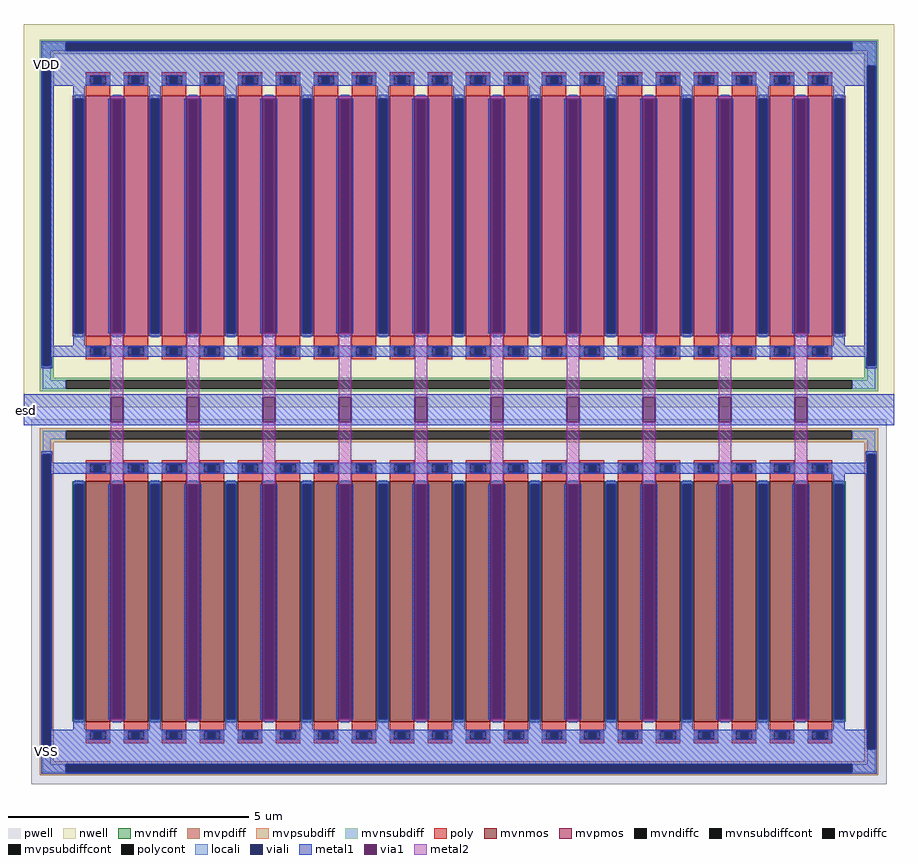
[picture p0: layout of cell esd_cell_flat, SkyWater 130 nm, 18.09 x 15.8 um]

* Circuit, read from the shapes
.subckt esd_cell_flat esd VDD VSS
XM1 esd VSS VSS VSS sky130_fd_pr__nfet_g5v0d10v5 w=5 l=0.5 m=20
XM2 esd VDD VDD VDD sky130_fd_pr__pfet_g5v0d10v5 w=5 l=0.5 m=20
.ends

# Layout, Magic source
magic
tech sky130A
<< nwell >>
rect -32 751 1777 1548
<< pwell >>
rect -17 -32 1762 726
<< mvnmos >>
rect 97 97 147 597
rect 176 97 226 597
rect 255 97 305 597
rect 334 97 384 597
rect 413 97 463 597
rect 492 97 542 597
rect 571 97 621 597
rect 650 97 700 597
rect 729 97 779 597
rect 808 97 858 597
rect 887 97 937 597
rect 966 97 1016 597
rect 1045 97 1095 597
rect 1124 97 1174 597
rect 1203 97 1253 597
rect 1282 97 1332 597
rect 1361 97 1411 597
rect 1440 97 1490 597
rect 1519 97 1569 597
rect 1598 97 1648 597
<< mvpmos >>
rect 97 899 147 1399
rect 176 899 226 1399
rect 255 899 305 1399
rect 334 899 384 1399
rect 413 899 463 1399
rect 492 899 542 1399
rect 571 899 621 1399
rect 650 899 700 1399
rect 729 899 779 1399
rect 808 899 858 1399
rect 887 899 937 1399
rect 966 899 1016 1399
rect 1045 899 1095 1399
rect 1124 899 1174 1399
rect 1203 899 1253 1399
rect 1282 899 1332 1399
rect 1361 899 1411 1399
rect 1440 899 1490 1399
rect 1519 899 1569 1399
rect 1598 899 1648 1399
<< mvndiff >>
rect 68 591 97 597
rect 68 103 74 591
rect 91 103 97 591
rect 68 97 97 103
rect 147 591 176 597
rect 147 103 153 591
rect 170 103 176 591
rect 147 97 176 103
rect 226 591 255 597
rect 226 103 232 591
rect 249 103 255 591
rect 226 97 255 103
rect 305 591 334 597
rect 305 103 311 591
rect 328 103 334 591
rect 305 97 334 103
rect 384 591 413 597
rect 384 103 390 591
rect 407 103 413 591
rect 384 97 413 103
rect 463 591 492 597
rect 463 103 469 591
rect 486 103 492 591
rect 463 97 492 103
rect 542 591 571 597
rect 542 103 548 591
rect 565 103 571 591
rect 542 97 571 103
rect 621 591 650 597
rect 621 103 627 591
rect 644 103 650 591
rect 621 97 650 103
rect 700 591 729 597
rect 700 103 706 591
rect 723 103 729 591
rect 700 97 729 103
rect 779 591 808 597
rect 779 103 785 591
rect 802 103 808 591
rect 779 97 808 103
rect 858 591 887 597
rect 858 103 864 591
rect 881 103 887 591
rect 858 97 887 103
rect 937 591 966 597
rect 937 103 943 591
rect 960 103 966 591
rect 937 97 966 103
rect 1016 591 1045 597
rect 1016 103 1022 591
rect 1039 103 1045 591
rect 1016 97 1045 103
rect 1095 591 1124 597
rect 1095 103 1101 591
rect 1118 103 1124 591
rect 1095 97 1124 103
rect 1174 591 1203 597
rect 1174 103 1180 591
rect 1197 103 1203 591
rect 1174 97 1203 103
rect 1253 591 1282 597
rect 1253 103 1259 591
rect 1276 103 1282 591
rect 1253 97 1282 103
rect 1332 591 1361 597
rect 1332 103 1338 591
rect 1355 103 1361 591
rect 1332 97 1361 103
rect 1411 591 1440 597
rect 1411 103 1417 591
rect 1434 103 1440 591
rect 1411 97 1440 103
rect 1490 591 1519 597
rect 1490 103 1496 591
rect 1513 103 1519 591
rect 1490 97 1519 103
rect 1569 591 1598 597
rect 1569 103 1575 591
rect 1592 103 1598 591
rect 1569 97 1598 103
rect 1648 591 1677 597
rect 1648 103 1654 591
rect 1671 103 1677 591
rect 1648 97 1677 103
<< mvpdiff >>
rect 68 1393 97 1399
rect 68 905 74 1393
rect 91 905 97 1393
rect 68 899 97 905
rect 147 1393 176 1399
rect 147 905 153 1393
rect 170 905 176 1393
rect 147 899 176 905
rect 226 1393 255 1399
rect 226 905 232 1393
rect 249 905 255 1393
rect 226 899 255 905
rect 305 1393 334 1399
rect 305 905 311 1393
rect 328 905 334 1393
rect 305 899 334 905
rect 384 1393 413 1399
rect 384 905 390 1393
rect 407 905 413 1393
rect 384 899 413 905
rect 463 1393 492 1399
rect 463 905 469 1393
rect 486 905 492 1393
rect 463 899 492 905
rect 542 1393 571 1399
rect 542 905 548 1393
rect 565 905 571 1393
rect 542 899 571 905
rect 621 1393 650 1399
rect 621 905 627 1393
rect 644 905 650 1393
rect 621 899 650 905
rect 700 1393 729 1399
rect 700 905 706 1393
rect 723 905 729 1393
rect 700 899 729 905
rect 779 1393 808 1399
rect 779 905 785 1393
rect 802 905 808 1393
rect 779 899 808 905
rect 858 1393 887 1399
rect 858 905 864 1393
rect 881 905 887 1393
rect 858 899 887 905
rect 937 1393 966 1399
rect 937 905 943 1393
rect 960 905 966 1393
rect 937 899 966 905
rect 1016 1393 1045 1399
rect 1016 905 1022 1393
rect 1039 905 1045 1393
rect 1016 899 1045 905
rect 1095 1393 1124 1399
rect 1095 905 1101 1393
rect 1118 905 1124 1393
rect 1095 899 1124 905
rect 1174 1393 1203 1399
rect 1174 905 1180 1393
rect 1197 905 1203 1393
rect 1174 899 1203 905
rect 1253 1393 1282 1399
rect 1253 905 1259 1393
rect 1276 905 1282 1393
rect 1253 899 1282 905
rect 1332 1393 1361 1399
rect 1332 905 1338 1393
rect 1355 905 1361 1393
rect 1332 899 1361 905
rect 1411 1393 1440 1399
rect 1411 905 1417 1393
rect 1434 905 1440 1393
rect 1411 899 1440 905
rect 1490 1393 1519 1399
rect 1490 905 1496 1393
rect 1513 905 1519 1393
rect 1490 899 1519 905
rect 1569 1393 1598 1399
rect 1569 905 1575 1393
rect 1592 905 1598 1393
rect 1569 899 1598 905
rect 1648 1393 1677 1399
rect 1648 905 1654 1393
rect 1671 905 1677 1393
rect 1648 899 1677 905
<< mvndiffc >>
rect 74 103 91 591
rect 153 103 170 591
rect 232 103 249 591
rect 311 103 328 591
rect 390 103 407 591
rect 469 103 486 591
rect 548 103 565 591
rect 627 103 644 591
rect 706 103 723 591
rect 785 103 802 591
rect 864 103 881 591
rect 943 103 960 591
rect 1022 103 1039 591
rect 1101 103 1118 591
rect 1180 103 1197 591
rect 1259 103 1276 591
rect 1338 103 1355 591
rect 1417 103 1434 591
rect 1496 103 1513 591
rect 1575 103 1592 591
rect 1654 103 1671 591
<< mvpdiffc >>
rect 74 905 91 1393
rect 153 905 170 1393
rect 232 905 249 1393
rect 311 905 328 1393
rect 390 905 407 1393
rect 469 905 486 1393
rect 548 905 565 1393
rect 627 905 644 1393
rect 706 905 723 1393
rect 785 905 802 1393
rect 864 905 881 1393
rect 943 905 960 1393
rect 1022 905 1039 1393
rect 1101 905 1118 1393
rect 1180 905 1197 1393
rect 1259 905 1276 1393
rect 1338 905 1355 1393
rect 1417 905 1434 1393
rect 1496 905 1513 1393
rect 1575 905 1592 1393
rect 1654 905 1671 1393
<< mvpsubdiff >>
rect 1 702 1744 708
rect 1 685 55 702
rect 1690 685 1744 702
rect 1 679 1744 685
rect 1 654 30 679
rect 1 40 7 654
rect 24 40 30 654
rect 1715 654 1744 679
rect 1 15 30 40
rect 1715 40 1721 654
rect 1738 40 1744 654
rect 1715 15 1744 40
rect 1 9 1744 15
rect 1 -8 55 9
rect 1690 -8 1744 9
rect 1 -14 1744 -8
<< mvnsubdiff >>
rect 1 1509 1744 1515
rect 1 1492 55 1509
rect 1690 1492 1744 1509
rect 1 1486 1744 1492
rect 1 1461 30 1486
rect 1 838 7 1461
rect 24 838 30 1461
rect 1715 1461 1744 1486
rect 1 813 30 838
rect 1715 838 1721 1461
rect 1738 838 1744 1461
rect 1715 813 1744 838
rect 1 807 1744 813
rect 1 790 55 807
rect 1690 790 1744 807
rect 1 784 1744 790
<< mvpsubdiffcont >>
rect 55 685 1690 702
rect 7 40 24 654
rect 1721 40 1738 654
rect 55 -8 1690 9
<< mvnsubdiffcont >>
rect 55 1492 1690 1509
rect 7 838 24 1461
rect 1721 838 1738 1461
rect 55 790 1690 807
<< poly >>
rect 97 1440 147 1448
rect 97 1423 105 1440
rect 139 1423 147 1440
rect 97 1399 147 1423
rect 176 1440 226 1448
rect 176 1423 184 1440
rect 218 1423 226 1440
rect 176 1399 226 1423
rect 255 1440 305 1448
rect 255 1423 263 1440
rect 297 1423 305 1440
rect 255 1399 305 1423
rect 334 1440 384 1448
rect 334 1423 342 1440
rect 376 1423 384 1440
rect 334 1399 384 1423
rect 413 1440 463 1448
rect 413 1423 421 1440
rect 455 1423 463 1440
rect 413 1399 463 1423
rect 492 1440 542 1448
rect 492 1423 500 1440
rect 534 1423 542 1440
rect 492 1399 542 1423
rect 571 1440 621 1448
rect 571 1423 579 1440
rect 613 1423 621 1440
rect 571 1399 621 1423
rect 650 1440 700 1448
rect 650 1423 658 1440
rect 692 1423 700 1440
rect 650 1399 700 1423
rect 729 1440 779 1448
rect 729 1423 737 1440
rect 771 1423 779 1440
rect 729 1399 779 1423
rect 808 1440 858 1448
rect 808 1423 816 1440
rect 850 1423 858 1440
rect 808 1399 858 1423
rect 887 1440 937 1448
rect 887 1423 895 1440
rect 929 1423 937 1440
rect 887 1399 937 1423
rect 966 1440 1016 1448
rect 966 1423 974 1440
rect 1008 1423 1016 1440
rect 966 1399 1016 1423
rect 1045 1440 1095 1448
rect 1045 1423 1053 1440
rect 1087 1423 1095 1440
rect 1045 1399 1095 1423
rect 1124 1440 1174 1448
rect 1124 1423 1132 1440
rect 1166 1423 1174 1440
rect 1124 1399 1174 1423
rect 1203 1440 1253 1448
rect 1203 1423 1211 1440
rect 1245 1423 1253 1440
rect 1203 1399 1253 1423
rect 1282 1440 1332 1448
rect 1282 1423 1290 1440
rect 1324 1423 1332 1440
rect 1282 1399 1332 1423
rect 1361 1440 1411 1448
rect 1361 1423 1369 1440
rect 1403 1423 1411 1440
rect 1361 1399 1411 1423
rect 1440 1440 1490 1448
rect 1440 1423 1448 1440
rect 1482 1423 1490 1440
rect 1440 1399 1490 1423
rect 1519 1440 1569 1448
rect 1519 1423 1527 1440
rect 1561 1423 1569 1440
rect 1519 1399 1569 1423
rect 1598 1440 1648 1448
rect 1598 1423 1606 1440
rect 1640 1423 1648 1440
rect 1598 1399 1648 1423
rect 97 876 147 899
rect 97 859 105 876
rect 139 859 147 876
rect 97 851 147 859
rect 176 876 226 899
rect 176 859 184 876
rect 218 859 226 876
rect 176 851 226 859
rect 255 876 305 899
rect 255 859 263 876
rect 297 859 305 876
rect 255 851 305 859
rect 334 876 384 899
rect 334 859 342 876
rect 376 859 384 876
rect 334 851 384 859
rect 413 876 463 899
rect 413 859 421 876
rect 455 859 463 876
rect 413 851 463 859
rect 492 876 542 899
rect 492 859 500 876
rect 534 859 542 876
rect 492 851 542 859
rect 571 876 621 899
rect 571 859 579 876
rect 613 859 621 876
rect 571 851 621 859
rect 650 876 700 899
rect 650 859 658 876
rect 692 859 700 876
rect 650 851 700 859
rect 729 876 779 899
rect 729 859 737 876
rect 771 859 779 876
rect 729 851 779 859
rect 808 876 858 899
rect 808 859 816 876
rect 850 859 858 876
rect 808 851 858 859
rect 887 876 937 899
rect 887 859 895 876
rect 929 859 937 876
rect 887 851 937 859
rect 966 876 1016 899
rect 966 859 974 876
rect 1008 859 1016 876
rect 966 851 1016 859
rect 1045 876 1095 899
rect 1045 859 1053 876
rect 1087 859 1095 876
rect 1045 851 1095 859
rect 1124 876 1174 899
rect 1124 859 1132 876
rect 1166 859 1174 876
rect 1124 851 1174 859
rect 1203 876 1253 899
rect 1203 859 1211 876
rect 1245 859 1253 876
rect 1203 851 1253 859
rect 1282 876 1332 899
rect 1282 859 1290 876
rect 1324 859 1332 876
rect 1282 851 1332 859
rect 1361 876 1411 899
rect 1361 859 1369 876
rect 1403 859 1411 876
rect 1361 851 1411 859
rect 1440 876 1490 899
rect 1440 859 1448 876
rect 1482 859 1490 876
rect 1440 851 1490 859
rect 1519 876 1569 899
rect 1519 859 1527 876
rect 1561 859 1569 876
rect 1519 851 1569 859
rect 1598 876 1648 899
rect 1598 859 1606 876
rect 1640 859 1648 876
rect 1598 851 1648 859
rect 97 633 147 641
rect 97 616 105 633
rect 139 616 147 633
rect 97 597 147 616
rect 176 633 226 641
rect 176 616 184 633
rect 218 616 226 633
rect 176 597 226 616
rect 255 633 305 641
rect 255 616 263 633
rect 297 616 305 633
rect 255 597 305 616
rect 334 633 384 641
rect 334 616 342 633
rect 376 616 384 633
rect 334 597 384 616
rect 413 633 463 641
rect 413 616 421 633
rect 455 616 463 633
rect 413 597 463 616
rect 492 633 542 641
rect 492 616 500 633
rect 534 616 542 633
rect 492 597 542 616
rect 571 633 621 641
rect 571 616 579 633
rect 613 616 621 633
rect 571 597 621 616
rect 650 633 700 641
rect 650 616 658 633
rect 692 616 700 633
rect 650 597 700 616
rect 729 633 779 641
rect 729 616 737 633
rect 771 616 779 633
rect 729 597 779 616
rect 808 633 858 641
rect 808 616 816 633
rect 850 616 858 633
rect 808 597 858 616
rect 887 633 937 641
rect 887 616 895 633
rect 929 616 937 633
rect 887 597 937 616
rect 966 633 1016 641
rect 966 616 974 633
rect 1008 616 1016 633
rect 966 597 1016 616
rect 1045 633 1095 641
rect 1045 616 1053 633
rect 1087 616 1095 633
rect 1045 597 1095 616
rect 1124 633 1174 641
rect 1124 616 1132 633
rect 1166 616 1174 633
rect 1124 597 1174 616
rect 1203 633 1253 641
rect 1203 616 1211 633
rect 1245 616 1253 633
rect 1203 597 1253 616
rect 1282 633 1332 641
rect 1282 616 1290 633
rect 1324 616 1332 633
rect 1282 597 1332 616
rect 1361 633 1411 641
rect 1361 616 1369 633
rect 1403 616 1411 633
rect 1361 597 1411 616
rect 1440 633 1490 641
rect 1440 616 1448 633
rect 1482 616 1490 633
rect 1440 597 1490 616
rect 1519 633 1569 641
rect 1519 616 1527 633
rect 1561 616 1569 633
rect 1519 597 1569 616
rect 1598 633 1648 641
rect 1598 616 1606 633
rect 1640 616 1648 633
rect 1598 597 1648 616
rect 97 78 147 97
rect 97 61 105 78
rect 139 61 147 78
rect 97 53 147 61
rect 176 78 226 97
rect 176 61 184 78
rect 218 61 226 78
rect 176 53 226 61
rect 255 78 305 97
rect 255 61 263 78
rect 297 61 305 78
rect 255 53 305 61
rect 334 78 384 97
rect 334 61 342 78
rect 376 61 384 78
rect 334 53 384 61
rect 413 78 463 97
rect 413 61 421 78
rect 455 61 463 78
rect 413 53 463 61
rect 492 78 542 97
rect 492 61 500 78
rect 534 61 542 78
rect 492 53 542 61
rect 571 78 621 97
rect 571 61 579 78
rect 613 61 621 78
rect 571 53 621 61
rect 650 78 700 97
rect 650 61 658 78
rect 692 61 700 78
rect 650 53 700 61
rect 729 78 779 97
rect 729 61 737 78
rect 771 61 779 78
rect 729 53 779 61
rect 808 78 858 97
rect 808 61 816 78
rect 850 61 858 78
rect 808 53 858 61
rect 887 78 937 97
rect 887 61 895 78
rect 929 61 937 78
rect 887 53 937 61
rect 966 78 1016 97
rect 966 61 974 78
rect 1008 61 1016 78
rect 966 53 1016 61
rect 1045 78 1095 97
rect 1045 61 1053 78
rect 1087 61 1095 78
rect 1045 53 1095 61
rect 1124 78 1174 97
rect 1124 61 1132 78
rect 1166 61 1174 78
rect 1124 53 1174 61
rect 1203 78 1253 97
rect 1203 61 1211 78
rect 1245 61 1253 78
rect 1203 53 1253 61
rect 1282 78 1332 97
rect 1282 61 1290 78
rect 1324 61 1332 78
rect 1282 53 1332 61
rect 1361 78 1411 97
rect 1361 61 1369 78
rect 1403 61 1411 78
rect 1361 53 1411 61
rect 1440 78 1490 97
rect 1440 61 1448 78
rect 1482 61 1490 78
rect 1440 53 1490 61
rect 1519 78 1569 97
rect 1519 61 1527 78
rect 1561 61 1569 78
rect 1519 53 1569 61
rect 1598 78 1648 97
rect 1598 61 1606 78
rect 1640 61 1648 78
rect 1598 53 1648 61
<< polycont >>
rect 105 1423 139 1440
rect 184 1423 218 1440
rect 263 1423 297 1440
rect 342 1423 376 1440
rect 421 1423 455 1440
rect 500 1423 534 1440
rect 579 1423 613 1440
rect 658 1423 692 1440
rect 737 1423 771 1440
rect 816 1423 850 1440
rect 895 1423 929 1440
rect 974 1423 1008 1440
rect 1053 1423 1087 1440
rect 1132 1423 1166 1440
rect 1211 1423 1245 1440
rect 1290 1423 1324 1440
rect 1369 1423 1403 1440
rect 1448 1423 1482 1440
rect 1527 1423 1561 1440
rect 1606 1423 1640 1440
rect 105 859 139 876
rect 184 859 218 876
rect 263 859 297 876
rect 342 859 376 876
rect 421 859 455 876
rect 500 859 534 876
rect 579 859 613 876
rect 658 859 692 876
rect 737 859 771 876
rect 816 859 850 876
rect 895 859 929 876
rect 974 859 1008 876
rect 1053 859 1087 876
rect 1132 859 1166 876
rect 1211 859 1245 876
rect 1290 859 1324 876
rect 1369 859 1403 876
rect 1448 859 1482 876
rect 1527 859 1561 876
rect 1606 859 1640 876
rect 105 616 139 633
rect 184 616 218 633
rect 263 616 297 633
rect 342 616 376 633
rect 421 616 455 633
rect 500 616 534 633
rect 579 616 613 633
rect 658 616 692 633
rect 737 616 771 633
rect 816 616 850 633
rect 895 616 929 633
rect 974 616 1008 633
rect 1053 616 1087 633
rect 1132 616 1166 633
rect 1211 616 1245 633
rect 1290 616 1324 633
rect 1369 616 1403 633
rect 1448 616 1482 633
rect 1527 616 1561 633
rect 1606 616 1640 633
rect 105 61 139 78
rect 184 61 218 78
rect 263 61 297 78
rect 342 61 376 78
rect 421 61 455 78
rect 500 61 534 78
rect 579 61 613 78
rect 658 61 692 78
rect 737 61 771 78
rect 816 61 850 78
rect 895 61 929 78
rect 974 61 1008 78
rect 1053 61 1087 78
rect 1132 61 1166 78
rect 1211 61 1245 78
rect 1290 61 1324 78
rect 1369 61 1403 78
rect 1448 61 1482 78
rect 1527 61 1561 78
rect 1606 61 1640 78
<< locali >>
rect 7 1492 55 1509
rect 1690 1492 1738 1509
rect 7 1461 24 1492
rect 1721 1461 1738 1492
rect 97 1423 105 1440
rect 139 1423 147 1440
rect 176 1423 184 1440
rect 218 1423 226 1440
rect 255 1423 263 1440
rect 297 1423 305 1440
rect 334 1423 342 1440
rect 376 1423 384 1440
rect 413 1423 421 1440
rect 455 1423 463 1440
rect 492 1423 500 1440
rect 534 1423 542 1440
rect 571 1423 579 1440
rect 613 1423 621 1440
rect 650 1423 658 1440
rect 692 1423 700 1440
rect 729 1423 737 1440
rect 771 1423 779 1440
rect 808 1423 816 1440
rect 850 1423 858 1440
rect 887 1423 895 1440
rect 929 1423 937 1440
rect 966 1423 974 1440
rect 1008 1423 1016 1440
rect 1045 1423 1053 1440
rect 1087 1423 1095 1440
rect 1124 1423 1132 1440
rect 1166 1423 1174 1440
rect 1203 1423 1211 1440
rect 1245 1423 1253 1440
rect 1282 1423 1290 1440
rect 1324 1423 1332 1440
rect 1361 1423 1369 1440
rect 1403 1423 1411 1440
rect 1440 1423 1448 1440
rect 1482 1423 1490 1440
rect 1519 1423 1527 1440
rect 1561 1423 1569 1440
rect 1598 1423 1606 1440
rect 1640 1423 1648 1440
rect 74 1393 91 1401
rect 74 897 91 905
rect 153 1393 170 1401
rect 153 897 170 905
rect 232 1393 249 1401
rect 232 897 249 905
rect 311 1393 328 1401
rect 311 897 328 905
rect 390 1393 407 1401
rect 390 897 407 905
rect 469 1393 486 1401
rect 469 897 486 905
rect 548 1393 565 1401
rect 548 897 565 905
rect 627 1393 644 1401
rect 627 897 644 905
rect 706 1393 723 1401
rect 706 897 723 905
rect 785 1393 802 1401
rect 785 897 802 905
rect 864 1393 881 1401
rect 864 897 881 905
rect 943 1393 960 1401
rect 943 897 960 905
rect 1022 1393 1039 1401
rect 1022 897 1039 905
rect 1101 1393 1118 1401
rect 1101 897 1118 905
rect 1180 1393 1197 1401
rect 1180 897 1197 905
rect 1259 1393 1276 1401
rect 1259 897 1276 905
rect 1338 1393 1355 1401
rect 1338 897 1355 905
rect 1417 1393 1434 1401
rect 1417 897 1434 905
rect 1496 1393 1513 1401
rect 1496 897 1513 905
rect 1575 1393 1592 1401
rect 1575 897 1592 905
rect 1654 1393 1671 1401
rect 1654 897 1671 905
rect 97 859 105 876
rect 139 859 147 876
rect 176 859 184 876
rect 218 859 226 876
rect 255 859 263 876
rect 297 859 305 876
rect 334 859 342 876
rect 376 859 384 876
rect 413 859 421 876
rect 455 859 463 876
rect 492 859 500 876
rect 534 859 542 876
rect 571 859 579 876
rect 613 859 621 876
rect 650 859 658 876
rect 692 859 700 876
rect 729 859 737 876
rect 771 859 779 876
rect 808 859 816 876
rect 850 859 858 876
rect 887 859 895 876
rect 929 859 937 876
rect 966 859 974 876
rect 1008 859 1016 876
rect 1045 859 1053 876
rect 1087 859 1095 876
rect 1124 859 1132 876
rect 1166 859 1174 876
rect 1203 859 1211 876
rect 1245 859 1253 876
rect 1282 859 1290 876
rect 1324 859 1332 876
rect 1361 859 1369 876
rect 1403 859 1411 876
rect 1440 859 1448 876
rect 1482 859 1490 876
rect 1519 859 1527 876
rect 1561 859 1569 876
rect 1598 859 1606 876
rect 1640 859 1648 876
rect 7 807 24 838
rect 1721 807 1738 838
rect 7 790 55 807
rect 1690 790 1738 807
rect 7 685 55 702
rect 1690 685 1738 702
rect 7 654 24 685
rect 1721 654 1738 685
rect 97 616 105 633
rect 139 616 147 633
rect 176 616 184 633
rect 218 616 226 633
rect 255 616 263 633
rect 297 616 305 633
rect 334 616 342 633
rect 376 616 384 633
rect 413 616 421 633
rect 455 616 463 633
rect 492 616 500 633
rect 534 616 542 633
rect 571 616 579 633
rect 613 616 621 633
rect 650 616 658 633
rect 692 616 700 633
rect 729 616 737 633
rect 771 616 779 633
rect 808 616 816 633
rect 850 616 858 633
rect 887 616 895 633
rect 929 616 937 633
rect 966 616 974 633
rect 1008 616 1016 633
rect 1045 616 1053 633
rect 1087 616 1095 633
rect 1124 616 1132 633
rect 1166 616 1174 633
rect 1203 616 1211 633
rect 1245 616 1253 633
rect 1282 616 1290 633
rect 1324 616 1332 633
rect 1361 616 1369 633
rect 1403 616 1411 633
rect 1440 616 1448 633
rect 1482 616 1490 633
rect 1519 616 1527 633
rect 1561 616 1569 633
rect 1598 616 1606 633
rect 1640 616 1648 633
rect 74 591 91 599
rect 74 95 91 103
rect 153 591 170 599
rect 153 95 170 103
rect 232 591 249 599
rect 232 95 249 103
rect 311 591 328 599
rect 311 95 328 103
rect 390 591 407 599
rect 390 95 407 103
rect 469 591 486 599
rect 469 95 486 103
rect 548 591 565 599
rect 548 95 565 103
rect 627 591 644 599
rect 627 95 644 103
rect 706 591 723 599
rect 706 95 723 103
rect 785 591 802 599
rect 785 95 802 103
rect 864 591 881 599
rect 864 95 881 103
rect 943 591 960 599
rect 943 95 960 103
rect 1022 591 1039 599
rect 1022 95 1039 103
rect 1101 591 1118 599
rect 1101 95 1118 103
rect 1180 591 1197 599
rect 1180 95 1197 103
rect 1259 591 1276 599
rect 1259 95 1276 103
rect 1338 591 1355 599
rect 1338 95 1355 103
rect 1417 591 1434 599
rect 1417 95 1434 103
rect 1496 591 1513 599
rect 1496 95 1513 103
rect 1575 591 1592 599
rect 1575 95 1592 103
rect 1654 591 1671 599
rect 1654 95 1671 103
rect 97 61 105 78
rect 139 61 147 78
rect 176 61 184 78
rect 218 61 226 78
rect 255 61 263 78
rect 297 61 305 78
rect 334 61 342 78
rect 376 61 384 78
rect 413 61 421 78
rect 455 61 463 78
rect 492 61 500 78
rect 534 61 542 78
rect 571 61 579 78
rect 613 61 621 78
rect 650 61 658 78
rect 692 61 700 78
rect 729 61 737 78
rect 771 61 779 78
rect 808 61 816 78
rect 850 61 858 78
rect 887 61 895 78
rect 929 61 937 78
rect 966 61 974 78
rect 1008 61 1016 78
rect 1045 61 1053 78
rect 1087 61 1095 78
rect 1124 61 1132 78
rect 1166 61 1174 78
rect 1203 61 1211 78
rect 1245 61 1253 78
rect 1282 61 1290 78
rect 1324 61 1332 78
rect 1361 61 1369 78
rect 1403 61 1411 78
rect 1440 61 1448 78
rect 1482 61 1490 78
rect 1519 61 1527 78
rect 1561 61 1569 78
rect 1598 61 1606 78
rect 1640 61 1648 78
rect 7 9 24 40
rect 1721 9 1738 40
rect 7 -8 55 9
rect 1690 -8 1738 9
<< viali >>
rect 55 1492 1690 1509
rect 7 838 24 1461
rect 113 1423 130 1440
rect 192 1423 209 1440
rect 271 1423 288 1440
rect 350 1423 367 1440
rect 429 1423 446 1440
rect 508 1423 525 1440
rect 587 1423 604 1440
rect 666 1423 683 1440
rect 745 1423 762 1440
rect 824 1423 841 1440
rect 904 1423 921 1440
rect 983 1423 1000 1440
rect 1062 1423 1079 1440
rect 1141 1423 1158 1440
rect 1220 1423 1237 1440
rect 1299 1423 1316 1440
rect 1378 1423 1395 1440
rect 1457 1423 1474 1440
rect 1536 1423 1553 1440
rect 1615 1423 1632 1440
rect 74 905 91 1393
rect 153 905 170 1393
rect 232 905 249 1393
rect 311 905 328 1393
rect 390 905 407 1393
rect 469 905 486 1393
rect 548 905 565 1393
rect 627 905 644 1393
rect 706 905 723 1393
rect 785 905 802 1393
rect 864 905 881 1393
rect 943 905 960 1393
rect 1022 905 1039 1393
rect 1101 905 1118 1393
rect 1180 905 1197 1393
rect 1259 905 1276 1393
rect 1338 905 1355 1393
rect 1417 905 1434 1393
rect 1496 905 1513 1393
rect 1575 905 1592 1393
rect 1654 905 1671 1393
rect 113 859 130 876
rect 192 859 209 876
rect 271 859 288 876
rect 350 859 367 876
rect 429 859 446 876
rect 508 859 525 876
rect 587 859 604 876
rect 666 859 683 876
rect 745 859 762 876
rect 824 859 841 876
rect 904 859 921 876
rect 983 859 1000 876
rect 1062 859 1079 876
rect 1141 859 1158 876
rect 1220 859 1237 876
rect 1299 859 1316 876
rect 1378 859 1395 876
rect 1457 859 1474 876
rect 1536 859 1553 876
rect 1615 859 1632 876
rect 1721 838 1738 1461
rect 7 40 24 654
rect 113 616 130 633
rect 192 616 209 633
rect 271 616 288 633
rect 350 616 367 633
rect 429 616 446 633
rect 508 616 525 633
rect 587 616 604 633
rect 666 616 683 633
rect 745 616 762 633
rect 824 616 841 633
rect 904 616 921 633
rect 983 616 1000 633
rect 1062 616 1079 633
rect 1141 616 1158 633
rect 1220 616 1237 633
rect 1299 616 1316 633
rect 1378 616 1395 633
rect 1457 616 1474 633
rect 1536 616 1553 633
rect 1615 616 1632 633
rect 74 103 91 591
rect 153 103 170 591
rect 232 103 249 591
rect 311 103 328 591
rect 390 103 407 591
rect 469 103 486 591
rect 548 103 565 591
rect 627 103 644 591
rect 706 103 723 591
rect 785 103 802 591
rect 864 103 881 591
rect 943 103 960 591
rect 1022 103 1039 591
rect 1101 103 1118 591
rect 1180 103 1197 591
rect 1259 103 1276 591
rect 1338 103 1355 591
rect 1417 103 1434 591
rect 1496 103 1513 591
rect 1575 103 1592 591
rect 1654 103 1671 591
rect 113 61 130 78
rect 192 61 209 78
rect 271 61 288 78
rect 350 61 367 78
rect 429 61 446 78
rect 508 61 525 78
rect 587 61 604 78
rect 666 61 683 78
rect 745 61 762 78
rect 824 61 841 78
rect 904 61 921 78
rect 983 61 1000 78
rect 1062 61 1079 78
rect 1141 61 1158 78
rect 1220 61 1237 78
rect 1299 61 1316 78
rect 1378 61 1395 78
rect 1457 61 1474 78
rect 1536 61 1553 78
rect 1615 61 1632 78
rect 1721 40 1738 654
rect 55 -8 1690 9
<< metal1 >>
rect 4 1509 1741 1512
rect 4 1492 55 1509
rect 1690 1492 1741 1509
rect 4 1461 1741 1492
rect 4 838 7 1461
rect 24 1440 1721 1461
rect 24 1423 113 1440
rect 130 1423 192 1440
rect 209 1423 271 1440
rect 288 1423 350 1440
rect 367 1423 429 1440
rect 446 1423 508 1440
rect 525 1423 587 1440
rect 604 1423 666 1440
rect 683 1423 745 1440
rect 762 1423 824 1440
rect 841 1423 904 1440
rect 921 1423 983 1440
rect 1000 1423 1062 1440
rect 1079 1423 1141 1440
rect 1158 1423 1220 1440
rect 1237 1423 1299 1440
rect 1316 1423 1378 1440
rect 1395 1423 1457 1440
rect 1474 1423 1536 1440
rect 1553 1423 1615 1440
rect 1632 1423 1721 1440
rect 24 1420 1721 1423
rect 24 879 30 1420
rect 71 1393 94 1420
rect 150 1393 173 1399
rect 229 1393 252 1420
rect 308 1393 331 1399
rect 387 1393 410 1420
rect 466 1393 489 1399
rect 545 1393 568 1420
rect 624 1393 647 1399
rect 703 1393 726 1420
rect 782 1393 805 1399
rect 861 1393 884 1420
rect 940 1393 963 1399
rect 1019 1393 1042 1420
rect 1098 1393 1121 1399
rect 1177 1393 1200 1420
rect 1256 1393 1279 1399
rect 1335 1393 1358 1420
rect 1414 1393 1437 1399
rect 1493 1393 1516 1420
rect 1572 1393 1595 1399
rect 1651 1393 1674 1420
rect 71 905 74 1393
rect 91 905 94 1393
rect 143 905 148 1393
rect 174 905 179 1393
rect 229 905 232 1393
rect 249 905 252 1393
rect 301 905 306 1393
rect 332 905 337 1393
rect 387 905 390 1393
rect 407 905 410 1393
rect 459 905 464 1393
rect 490 905 495 1393
rect 545 905 548 1393
rect 565 905 568 1393
rect 617 905 622 1393
rect 648 905 653 1393
rect 703 905 706 1393
rect 723 905 726 1393
rect 775 905 780 1393
rect 806 905 811 1393
rect 861 905 864 1393
rect 881 905 884 1393
rect 933 905 938 1393
rect 964 905 969 1393
rect 1019 905 1022 1393
rect 1039 905 1042 1393
rect 1091 905 1096 1393
rect 1122 905 1127 1393
rect 1177 905 1180 1393
rect 1197 905 1200 1393
rect 1249 905 1254 1393
rect 1280 905 1285 1393
rect 1335 905 1338 1393
rect 1355 905 1358 1393
rect 1407 905 1412 1393
rect 1438 905 1443 1393
rect 1493 905 1496 1393
rect 1513 905 1516 1393
rect 1565 905 1570 1393
rect 1596 905 1601 1393
rect 1651 905 1654 1393
rect 1671 905 1674 1393
rect 71 879 94 905
rect 150 899 173 905
rect 229 899 252 905
rect 308 899 331 905
rect 387 899 410 905
rect 466 899 489 905
rect 545 899 568 905
rect 624 899 647 905
rect 703 899 726 905
rect 782 899 805 905
rect 861 899 884 905
rect 940 899 963 905
rect 1019 899 1042 905
rect 1098 899 1121 905
rect 1177 899 1200 905
rect 1256 899 1279 905
rect 1335 899 1358 905
rect 1414 899 1437 905
rect 1493 899 1516 905
rect 1572 899 1595 905
rect 1651 879 1674 905
rect 1715 879 1721 1420
rect 24 876 1721 879
rect 24 859 113 876
rect 130 859 192 876
rect 209 859 271 876
rect 288 859 350 876
rect 367 859 429 876
rect 446 859 508 876
rect 525 859 587 876
rect 604 859 666 876
rect 683 859 745 876
rect 762 859 824 876
rect 841 859 904 876
rect 921 859 983 876
rect 1000 859 1062 876
rect 1079 859 1141 876
rect 1158 859 1220 876
rect 1237 859 1299 876
rect 1316 859 1378 876
rect 1395 859 1457 876
rect 1474 859 1536 876
rect 1553 859 1615 876
rect 1632 859 1721 876
rect 24 856 1721 859
rect 24 838 27 856
rect 4 832 27 838
rect 1718 838 1721 856
rect 1738 838 1741 1461
rect 1718 832 1741 838
rect -32 772 1777 778
rect -32 720 148 772
rect 174 720 306 772
rect 332 720 464 772
rect 490 720 622 772
rect 648 720 780 772
rect 806 720 938 772
rect 964 720 1096 772
rect 1122 720 1254 772
rect 1280 720 1412 772
rect 1438 720 1570 772
rect 1596 720 1777 772
rect -32 714 1777 720
rect 4 654 27 660
rect 4 40 7 654
rect 24 636 27 654
rect 1718 654 1741 660
rect 1718 636 1721 654
rect 24 633 1721 636
rect 24 616 113 633
rect 130 616 192 633
rect 209 616 271 633
rect 288 616 350 633
rect 367 616 429 633
rect 446 616 508 633
rect 525 616 587 633
rect 604 616 666 633
rect 683 616 745 633
rect 762 616 824 633
rect 841 616 904 633
rect 921 616 983 633
rect 1000 616 1062 633
rect 1079 616 1141 633
rect 1158 616 1220 633
rect 1237 616 1299 633
rect 1316 616 1378 633
rect 1395 616 1457 633
rect 1474 616 1536 633
rect 1553 616 1615 633
rect 1632 616 1721 633
rect 24 613 1721 616
rect 24 81 27 613
rect 71 591 94 597
rect 150 591 173 597
rect 229 591 252 597
rect 308 591 331 597
rect 387 591 410 597
rect 466 591 489 597
rect 545 591 568 597
rect 624 591 647 597
rect 703 591 726 597
rect 782 591 805 597
rect 861 591 884 597
rect 940 591 963 597
rect 1019 591 1042 597
rect 1098 591 1121 597
rect 1177 591 1200 597
rect 1256 591 1279 597
rect 1335 591 1358 597
rect 1414 591 1437 597
rect 1493 591 1516 597
rect 1572 591 1595 597
rect 1651 591 1674 613
rect 71 103 74 591
rect 91 103 94 591
rect 143 103 148 591
rect 174 103 179 591
rect 229 103 232 591
rect 249 103 252 591
rect 301 103 306 591
rect 332 103 337 591
rect 387 103 390 591
rect 407 103 410 591
rect 459 103 464 591
rect 490 103 495 591
rect 545 103 548 591
rect 565 103 568 591
rect 617 103 622 591
rect 648 103 653 591
rect 703 103 706 591
rect 723 103 726 591
rect 775 103 780 591
rect 806 103 811 591
rect 861 103 864 591
rect 881 103 884 591
rect 933 103 938 591
rect 964 103 969 591
rect 1019 103 1022 591
rect 1039 103 1042 591
rect 1091 103 1096 591
rect 1122 103 1127 591
rect 1177 103 1180 591
rect 1197 103 1200 591
rect 1249 103 1254 591
rect 1280 103 1285 591
rect 1335 103 1338 591
rect 1355 103 1358 591
rect 1407 103 1412 591
rect 1438 103 1443 591
rect 1493 103 1496 591
rect 1513 103 1516 591
rect 1565 103 1570 591
rect 1596 103 1601 591
rect 1651 103 1654 591
rect 1671 103 1674 591
rect 71 81 94 103
rect 150 97 173 103
rect 229 81 252 103
rect 308 97 331 103
rect 387 81 410 103
rect 466 97 489 103
rect 545 81 568 103
rect 624 97 647 103
rect 703 81 726 103
rect 782 97 805 103
rect 861 81 884 103
rect 940 97 963 103
rect 1019 81 1042 103
rect 1098 97 1121 103
rect 1177 81 1200 103
rect 1256 97 1279 103
rect 1335 81 1358 103
rect 1414 97 1437 103
rect 1493 81 1516 103
rect 1572 97 1595 103
rect 1651 81 1674 103
rect 1718 81 1721 613
rect 24 78 1721 81
rect 24 61 113 78
rect 130 61 192 78
rect 209 61 271 78
rect 288 61 350 78
rect 367 61 429 78
rect 446 61 508 78
rect 525 61 587 78
rect 604 61 666 78
rect 683 61 745 78
rect 762 61 824 78
rect 841 61 904 78
rect 921 61 983 78
rect 1000 61 1062 78
rect 1079 61 1141 78
rect 1158 61 1220 78
rect 1237 61 1299 78
rect 1316 61 1378 78
rect 1395 61 1457 78
rect 1474 61 1536 78
rect 1553 61 1615 78
rect 1632 61 1721 78
rect 24 40 1721 61
rect 1738 40 1741 654
rect 4 9 1741 40
rect 4 -8 55 9
rect 1690 -8 1741 9
rect 4 -11 1741 -8
<< via1 >>
rect 148 905 153 1393
rect 153 905 170 1393
rect 170 905 174 1393
rect 306 905 311 1393
rect 311 905 328 1393
rect 328 905 332 1393
rect 464 905 469 1393
rect 469 905 486 1393
rect 486 905 490 1393
rect 622 905 627 1393
rect 627 905 644 1393
rect 644 905 648 1393
rect 780 905 785 1393
rect 785 905 802 1393
rect 802 905 806 1393
rect 938 905 943 1393
rect 943 905 960 1393
rect 960 905 964 1393
rect 1096 905 1101 1393
rect 1101 905 1118 1393
rect 1118 905 1122 1393
rect 1254 905 1259 1393
rect 1259 905 1276 1393
rect 1276 905 1280 1393
rect 1412 905 1417 1393
rect 1417 905 1434 1393
rect 1434 905 1438 1393
rect 1570 905 1575 1393
rect 1575 905 1592 1393
rect 1592 905 1596 1393
rect 148 720 174 772
rect 306 720 332 772
rect 464 720 490 772
rect 622 720 648 772
rect 780 720 806 772
rect 938 720 964 772
rect 1096 720 1122 772
rect 1254 720 1280 772
rect 1412 720 1438 772
rect 1570 720 1596 772
rect 148 103 153 591
rect 153 103 170 591
rect 170 103 174 591
rect 306 103 311 591
rect 311 103 328 591
rect 328 103 332 591
rect 464 103 469 591
rect 469 103 486 591
rect 486 103 490 591
rect 622 103 627 591
rect 627 103 644 591
rect 644 103 648 591
rect 780 103 785 591
rect 785 103 802 591
rect 802 103 806 591
rect 938 103 943 591
rect 943 103 960 591
rect 960 103 964 591
rect 1096 103 1101 591
rect 1101 103 1118 591
rect 1118 103 1122 591
rect 1254 103 1259 591
rect 1259 103 1276 591
rect 1276 103 1280 591
rect 1412 103 1417 591
rect 1417 103 1434 591
rect 1434 103 1438 591
rect 1570 103 1575 591
rect 1575 103 1592 591
rect 1592 103 1596 591
<< metal2 >>
rect 148 1393 174 1398
rect 148 772 174 905
rect 148 591 174 720
rect 148 98 174 103
rect 306 1393 332 1398
rect 306 772 332 905
rect 306 591 332 720
rect 306 98 332 103
rect 464 1393 490 1398
rect 464 772 490 905
rect 464 591 490 720
rect 464 98 490 103
rect 622 1393 648 1398
rect 622 772 648 905
rect 622 591 648 720
rect 622 98 648 103
rect 780 1393 806 1398
rect 780 772 806 905
rect 780 591 806 720
rect 780 98 806 103
rect 938 1393 964 1398
rect 938 772 964 905
rect 938 591 964 720
rect 938 98 964 103
rect 1096 1393 1122 1398
rect 1096 772 1122 905
rect 1096 591 1122 720
rect 1096 98 1122 103
rect 1254 1393 1280 1398
rect 1254 772 1280 905
rect 1254 591 1280 720
rect 1254 98 1280 103
rect 1412 1393 1438 1398
rect 1412 772 1438 905
rect 1412 591 1438 720
rect 1412 98 1438 103
rect 1570 1393 1596 1398
rect 1570 772 1596 905
rect 1570 591 1596 720
rect 1570 98 1596 103
<< labels >>
flabel metal1 -26 744 -26 744 1 FreeSans 200 0 0 0 esd
port 1 n
flabel metal1 15 1464 15 1464 1 FreeSans 200 0 0 0 VDD
port 2 n power bidirectional
flabel metal1 15 36 15 36 1 FreeSans 200 0 0 0 VSS
port 3 n power bidirectional
<< end >>
